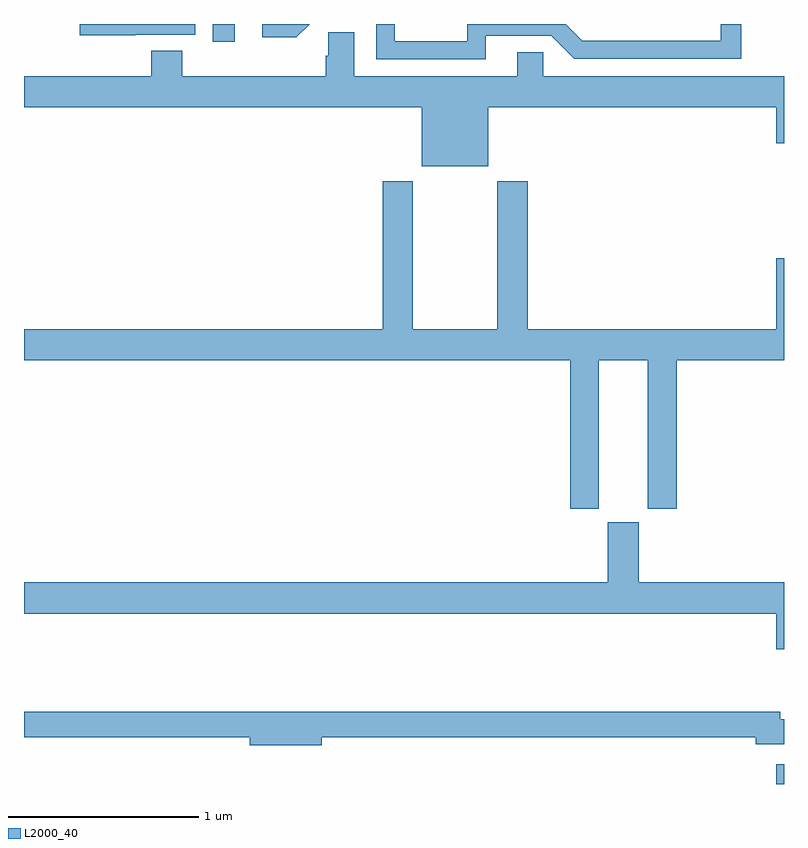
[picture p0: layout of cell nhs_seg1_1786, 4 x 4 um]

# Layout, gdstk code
import gdstk
lib = gdstk.Library(unit=1e-6, precision=1e-09)
def R(c, l, rs):  # rectangles x0, y0, x1, y1
    for r in rs: c.add(gdstk.rectangle(r[:2], r[2:], *l))
def P(c, l, *ps):  # polygons
    for p in ps: c.add(gdstk.Polygon(p, *l))
L2000_40 = (2000, 40)

nhs_seg1_1786 = lib.new_cell('nhs_seg1_1786')
R(nhs_seg1_1786, L2000_40, [(212.96,520.199,213,520.303), (209.994,524.106,210.109,524.199)])
P(nhs_seg1_1786, L2000_40, [(210.504,524.199),(210.255,524.199),(210.255,524.129),(210.433,524.129)],
  [(209.585,524.142),(209.901,524.142),(209.901,524.199),(209.293,524.199),(209.293,524.141),(209.585,524.141)],
  [(211.429,524.136),(211.776,524.136),(211.896,524.016),(212.776,524.016),(212.776,524.199),(212.667,524.199),(212.667,524.112),(211.938,524.112),(211.851,524.199),(211.332,524.199),(211.332,524.109),(210.951,524.109),(210.951,524.199),(210.855,524.199),(210.855,524.013),(211.429,524.013)],
  [(211.444,523.76),(212.96,523.76),(212.96,523.572),(213,523.572),(213,523.924),(211.734,523.924),(211.734,524.051),(211.595,524.051),(211.595,523.924),(210.739,523.924),(210.739,524.156),(210.6,524.156),(210.6,524.033),(210.587,524.033),(210.587,523.924),(209.834,523.924),(209.834,524.057),(209.669,524.057),(209.669,523.924),(209,523.924),(209,523.76),(211.094,523.76),(211.094,523.451),(211.444,523.451)],
  [(212.026,522.428),(212.282,522.428),(212.282,521.649),(212.435,521.649),(212.435,522.428),(213,522.428),(213,522.967),(212.96,522.967),(212.96,522.592),(211.652,522.592),(211.652,523.371),(211.492,523.371),(211.492,522.592),(211.047,522.592),(211.047,523.371),(210.887,523.371),(210.887,522.592),(209,522.592),(209,522.428),(211.874,522.428),(211.874,521.649),(212.026,521.649)],
  [(213,521.26),(212.236,521.26),(212.236,521.577),(212.072,521.577),(212.072,521.26),(209,521.26),(209,521.096),(212.96,521.096),(212.96,520.908),(213,520.908)],
  [(210.568,520.444),(212.852,520.444),(212.852,520.409),(213,520.409),(213,520.539),(212.98,520.539),(212.98,520.58),(209,520.58),(209,520.444),(210.188,520.444),(210.188,520.402),(210.568,520.402)])

lib.write_gds('nhs_seg1_1786.gds')
